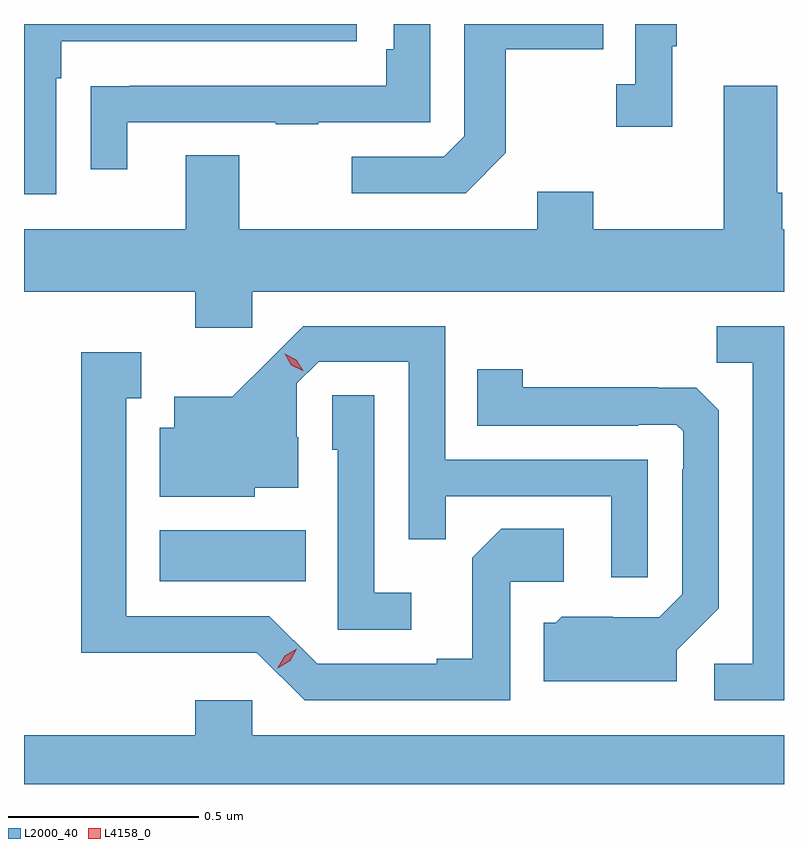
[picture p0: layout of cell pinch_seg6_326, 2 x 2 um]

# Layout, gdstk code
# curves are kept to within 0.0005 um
import gdstk
lib = gdstk.Library(unit=1e-6, precision=1e-09)
def R(c, l, rs):  # rectangles x0, y0, x1, y1
    for r in rs: c.add(gdstk.rectangle(r[:2], r[2:], *l))
def P(c, l, *ps):  # polygons
    for p in ps: c.add(gdstk.Polygon(p, *l))
L2000_40 = (2000, 40)
L4158_0 = (4158, 0)

pinch_seg6_326 = lib.new_cell('pinch_seg6_326')
R(pinch_seg6_326, L2000_40, [(636.428,961.226,636.812,961.36)])
P(pinch_seg6_326, L2000_40, [(636.156,962.549),(636.169,962.549),(636.169,962.646),(636.946,962.646),(636.946,962.692),(636.071,962.692),(636.071,962.244),(636.156,962.244)],
  [(637.339,962.353),(637.339,962.626),(637.595,962.626),(637.595,962.692),(637.23,962.692),(637.23,962.397),(637.176,962.343),(636.933,962.343),(636.933,962.247),(637.233,962.247)],
  [(637.777,962.633),(637.789,962.633),(637.789,962.692),(637.68,962.692),(637.68,962.534),(637.629,962.534),(637.629,962.421),(637.777,962.421)],
  [(636.343,962.433),(636.733,962.433),(636.733,962.428),(636.845,962.428),(636.845,962.433),(637.14,962.433),(637.14,962.692),(637.044,962.692),(637.044,962.626),(637.024,962.626),(637.024,962.529),(636.349,962.529),(636.349,962.528),(636.247,962.528),(636.247,962.31),(636.343,962.31)],
  [(636.672,961.988),(638.071,961.988),(638.071,962.152),(638.066,962.152),(638.066,962.248),(638.053,962.248),(638.053,962.53),(637.913,962.53),(637.913,962.152),(637.569,962.152),(637.569,962.251),(637.421,962.251),(637.421,962.152),(636.637,962.152),(636.637,962.347),(636.497,962.347),(636.497,962.152),(636.071,962.152),(636.071,961.988),(636.521,961.988),(636.521,961.893),(636.672,961.893)],
  [(638.071,961.896),(637.894,961.896),(637.894,961.801),(637.989,961.801),(637.989,961.008),(637.887,961.008),(637.887,960.912),(638.071,960.912)],
  [(637.713,961.545),(637.179,961.545),(637.179,961.896),(636.806,961.896),(636.619,961.711),(636.467,961.711),(636.467,961.63),(636.428,961.63),(636.428,961.448),(636.678,961.448),(636.678,961.472),(636.793,961.472),(636.793,961.604),(636.789,961.604),(636.789,961.746),(636.846,961.803),(637.083,961.803),(637.083,961.336),(637.181,961.336),(637.181,961.449),(637.617,961.449),(637.617,961.236),(637.713,961.236)],
  [(637.35,961.224),(637.492,961.224),(637.492,961.364),(637.327,961.364),(637.251,961.288),(637.251,961.021),(637.157,961.021),(637.157,961.008),(636.843,961.008),(636.717,961.134),(636.34,961.134),(636.34,961.707),(636.379,961.707),(636.379,961.828),(636.222,961.828),(636.222,961.037),(636.462,961.037),(636.462,961.038),(636.684,961.038),(636.81,960.912),(637.35,960.912)],
  [(637.789,961.044),(637.899,961.154),(637.899,961.676),(637.84,961.735),(637.739,961.735),(637.739,961.736),(637.383,961.736),(637.383,961.783),(637.264,961.783),(637.264,961.635),(637.688,961.635),(637.688,961.638),(637.788,961.638),(637.806,961.62),(637.806,961.52),(637.803,961.52),(637.803,961.191),(637.743,961.131),(637.62,961.131),(637.62,961.132),(637.486,961.132),(637.47,961.116),(637.439,961.116),(637.439,960.962),(637.789,960.962)],
  [(637.09,961.195),(636.993,961.195),(636.993,961.715),(636.882,961.715),(636.882,961.572),(636.897,961.572),(636.897,961.098),(637.09,961.098)],
  [(638.071,960.82),(636.672,960.82),(636.672,960.913),(636.521,960.913),(636.521,960.82),(636.071,960.82),(636.071,960.692),(638.071,960.692)])
P(pinch_seg6_326, L4158_0, [(636.805,961.779),(636.774,961.794),(636.757,961.824),(636.757,961.824),(636.757,961.824),(636.788,961.809),(636.806,961.779),(636.806,961.779)],
  [(636.739,960.997),(636.739,960.998),(636.757,961.03),(636.789,961.048),(636.789,961.048),(636.789,961.048),(636.771,961.016),(636.739,960.997)])

lib.write_gds('pinch_seg6_326.gds')
